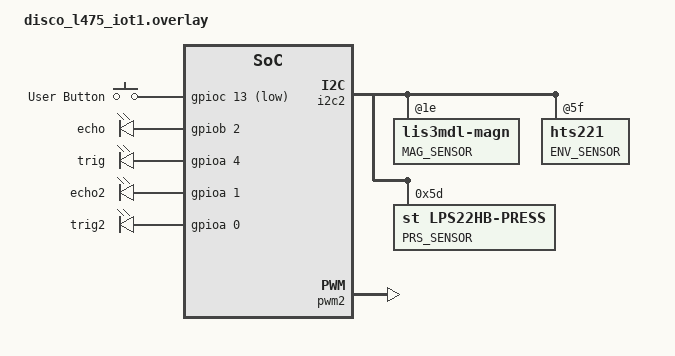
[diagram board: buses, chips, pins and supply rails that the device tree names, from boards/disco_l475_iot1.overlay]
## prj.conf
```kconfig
CONFIG_GPIO=y
CONFIG_ENTROPY_GENERATOR=y
#CONFIG_UART_INTERRUPT_DRIVEN=y
#CONFIG_SERIAL=y

CONFIG_SHELL=y
CONFIG_SHELL_BACKEND_SERIAL=y
CONFIG_UART_CONSOLE=y


CONFIG_CBPRINTF_COMPLETE=y
CONFIG_LOG=y
CONFIG_LOG_DEFAULT_LEVEL=3
CONFIG_LOG_MODE_DEFERRED=y
CONFIG_RTC=y

CONFIG_I2C=y
CONFIG_SENSOR=y
CONFIG_LIS3MDL=y

CONFIG_JSON_LIBRARY=y

CONFIG_FLASH=y
CONFIG_SPI=y
CONFIG_FLASH_MAP=y
CONFIG_NVS=y
CONFIG_FS_LOG_LEVEL_DBG=y

CONFIG_FILE_SYSTEM=y
CONFIG_FILE_SYSTEM_LITTLEFS=y
CONFIG_SHELL_STACK_SIZE=4096
CONFIG_MAIN_STACK_SIZE=4096

CONFIG_SHELL_BACKEND_SERIAL=y
CONFIG_FILE_SYSTEM_SHELL=y

#For bluetooth 

CONFIG_BT=y
CONFIG_BT_PERIPHERAL=y
CONFIG_BT_DEVICE_NAME="ST_Disco_Ben"
CONFIG_BT_DEVICE_APPEARANCE=0
CONFIG_BT_OBSERVER=y
CONFIG_BT_RX_STACK_SIZE=1024



#CONFIG_MAIN_STACK_SIZE=4096 #for file system
```

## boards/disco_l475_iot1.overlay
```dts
&i2c2 {
    mag_sensor: lis3mdl-magn@1e {
        label = "MAG_SENSOR";
        status = "okay";
    };
    env_sensor: hts221@5f{
        label = "ENV_SENSOR";
        status = "okay";
    };
    prs_sensor: lps22hb-press@5d {
        label = "PRS_SENSOR";
	    compatible = "st,lps22hb-press";
	    reg = <0x5d>;
    };
};


/{
    gpio_keys {
        compatible = "gpio-keys";
        user_button: button_0 {
            label = "User Button";
            gpios = <&gpioc 13 GPIO_ACTIVE_LOW>;
            zephyr,code = <INPUT_KEY_0>;
        };
    };
    aliases {
        rtc = &rtc;
        mag = &mag_sensor;
        env = &env_sensor;
        prs = &prs_sensor;
        sw0 = &user_button; 
        //mag = &lis3mdl_magn_1e;
        //mag = &MAG_SENSOR;
    };
};






//S1 LED overaly
/{
    aliases {
        trig = &trig;
        echo = &echo;
        trig2 = &trig2;
        echo2 = &echo2;
        
    };

    pwmleds: pwmleds {
		compatible = "pwm-leds";
		status = "disabled";
		/*
		 * green_pwm_1 is connected to CN1 pin 2 not LD1, since LD1
		 * shares a pin with the Arduino SPI SCL line.
		 */
		pwm_1: pwm_1 {
			pwms = <&pwm2 1 PWM_MSEC(1000) PWM_POLARITY_NORMAL>;
		};
		pwm_2: pwm_2 {
			pwms = <&pwm15 1 PWM_MSEC(1000) PWM_POLARITY_NORMAL>;
		};
	};

    gpios {
        compatible="gpio-leds";
        status="okay";
        echo: echo {
            gpios = <&gpiob 2 GPIO_ACTIVE_HIGH>; // Echo pin (input)
        };
        trig: trig {
            gpios = <&gpioa 4 GPIO_ACTIVE_HIGH>; //output
        };
        echo2: echo2 {
            gpios = <&gpioa 1 GPIO_ACTIVE_HIGH>; // Echo pin (input)
        };
        trig2: trig2 {
            gpios = <&gpioa 0 GPIO_ACTIVE_HIGH>; //output
        };
    };
};

&pwm2 {
    status = "okay";
};
```

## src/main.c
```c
#include <stdio.h>
#include "ble.c"
#include "ultrasonic.c"

#include <zephyr/kernel.h>
#include <zephyr/drivers/gpio.h>
#include <zephyr/random/random.h>
#include <zephyr/shell/shell.h>
#include <zephyr/logging/log.h>
#include <inttypes.h>
#include <zephyr/drivers/pwm.h>
#include <zephyr/devicetree.h>

#include <zephyr/bluetooth/bluetooth.h>
#include <zephyr/bluetooth/conn.h>
#include <zephyr/bluetooth/gatt.h>
#include <zephyr/bluetooth/uuid.h>


#define SLEEP_TIME_MS   1000
#define STACK_SIZE 1024
#define RNG_PRIORITY 7
#define DISPLAY_PRIORITY 7
#define MSGQ_SIZE 10
#define MSGQ_ALIGNMENT 4



/*
int main(){
    uint8_t arr[2] = {1, 2};
    uint8_t len = 2;
    uint8_t value = 0;
    ultrasonic_init();
    bt_le_scan_start(BT_LE_SCAN_PASSIVE, scan_recv);


    printf("Advertising started\n");
    while(1){
        //read_distance(1);
        read_distance(2);
        //set_val1(55); // Set the value of val1 to 55
        k_msleep(2000);
    }
    return 0;
}*/
```

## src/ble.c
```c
#include "ble.h"
#include <zephyr/bluetooth/bluetooth.h>
#include <zephyr/bluetooth/hci.h>


#define STACK_SIZE 1024
#define BLE_PRIORITY 7

// iBeacon payload format
static uint8_t ibeacon_payload[] = {
    0x33, 0x77, // iBeacon prefix
    0x00,       // Ultrasonic1
    0x00,       // Ultrasonic2   
};

// Define advertisement data
static const struct bt_data ad[] = {
    BT_DATA(BT_DATA_FLAGS, &(uint8_t){BT_LE_AD_GENERAL | BT_LE_AD_NO_BREDR}, 1),
    BT_DATA(BT_DATA_MANUFACTURER_DATA, ibeacon_payload, sizeof(ibeacon_payload)),
};

void update_sensor_values(uint16_t ultrasonic)
{
    uint8_t ultrasonic1 = ultrasonic & 0xFF; // Extract the lower byte
    uint8_t ultrasonic2 = (ultrasonic >> 8) & 0xFF; // Extract the upper byte

    // Given ultrasonic1 is at payload index 22 and 23 if major/minor are fixed update the value
    ibeacon_payload[2] = ultrasonic1; // ultrasonic1
    ibeacon_payload[3] = ultrasonic2; // ultrasonic2

}

void restart_advertising(uint16_t ultrasonic)
{
    update_sensor_values(ultrasonic);

    struct bt_data ad[] = {
        BT_DATA(BT_DATA_FLAGS, &(uint8_t){BT_LE_AD_GENERAL | BT_LE_AD_NO_BREDR}, 1),
        BT_DATA(BT_DATA_MANUFACTURER_DATA, ibeacon_payload, sizeof(ibeacon_payload)),
    };

    bt_le_adv_stop();
    int ret = bt_le_adv_start(BT_LE_ADV_NCONN, ad, ARRAY_SIZE(ad), NULL, 0);
    if (ret)
    {
        printf("Failed to restart advertising (err %d)\n", ret);
    }
}

// Initialize BLE and start advertising iBeacon data
int init_ble(void)
{
    printf("Initializing BLE as iBeacon\n");

    int ret = bt_enable(NULL);
    if (ret)
    {
        printf("Bluetooth init failed (err %d)\n", ret);
        return ret;
    }

    ret = bt_le_adv_start(BT_LE_ADV_NCONN, ad, ARRAY_SIZE(ad), NULL, 0);
    if (ret)
    {
        printf("Advertising start failed (err %d)\n", ret);
    }
    else
    {
        printf("iBeacon advertising started successfully\n");
    }

    return ret;
}

// reading bt
#define IBEACON_MANUF_DATA_MIN_LEN 24

static bool adv_parse_cb(struct bt_data *data, void *user_data)
{
    if (data->type == BT_DATA_MANUFACTURER_DATA && data->data_len >= IBEACON_MANUF_DATA_MIN_LEN)
    {
        const uint8_t *d = data->data;
        // Check for the iBeacon prefix (first 2 bytes: 0x02, 0x15)
        if (d[0] == 0x02 && d[1] == 0x15)
        {
            uint16_t major = (d[18] << 8) | d[19];
            uint16_t minor = (d[20] << 8) | d[21];
            int8_t tx_power = d[22];    // TX Power (signed 8-bit)
            uint8_t ultrasonic = d[23]; // Custom field "ultrasonic1"

            printk("iBeacon detected:\n");
            printk("  Major: %u\n", major);
            printk("  Minor: %u\n", minor);
            printk("  TX Power: %d\n", tx_power);
            printk("  Ultrasonic1: %u\n", ultrasonic);
        }
    }
    /* Returning true to continue processing any further fields */
    return true;
}


void ble_task(void) {
    init_ble();
    // Start scanning for iBeacon advertisements
    uint16_t combinedDistance = 0;

    while (1)
    {
        k_msgq_get(&my_msgq, &combinedDistance, K_FOREVER) == 0;
        restart_advertising(combinedDistance);
    }
}
K_THREAD_DEFINE(ble, STACK_SIZE, ble_task, NULL, NULL, BLE_PRIORITY,0,0,0);
```

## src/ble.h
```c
#ifndef BLE_H
#define BLE_H

#include <zephyr/kernel.h>
#include <zephyr/device.h>
#include <zephyr/drivers/rtc.h>
#include <zephyr/sys/util.h>
#include <zephyr/devicetree.h>
#include <zephyr/shell/shell.h>
#include <zephyr/bluetooth/bluetooth.h>
#include <zephyr/bluetooth/hci.h>


int init_ble(void);
void send_value(uint8_t value);
void set_val1(uint8_t value);


extern struct k_msgq my_msgq;

#endif 
```

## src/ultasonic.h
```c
#ifndef ULTRASONIC_H
#define ULTRASONIC_H

#include <zephyr/kernel.h>
#include <zephyr/device.h>
#include <zephyr/drivers/rtc.h>
#include <zephyr/sys/util.h>
#include <zephyr/devicetree.h>
#include <zephyr/shell/shell.h>

int ultrasonic_init(void);
uint8_t read_distance(int select);



#endif 
```

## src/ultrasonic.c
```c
#include <limits.h>
#include "ultasonic.h"
#include "ble.h"
#include <stdio.h>
#include <zephyr/kernel.h>
#include <zephyr/drivers/gpio.h>
#include <zephyr/random/random.h>
#include <zephyr/shell/shell.h>
#include <zephyr/logging/log.h>
#include <inttypes.h>
#include <zephyr/drivers/pwm.h>
#include <zephyr/devicetree.h>

#define STACK_SIZE 2048
#define ULTRASONIC_PRIORITY 7

static const struct gpio_dt_spec trig_pin1 = GPIO_DT_SPEC_GET(DT_ALIAS(trig), gpios);
static const struct gpio_dt_spec echo_pin1 = GPIO_DT_SPEC_GET(DT_ALIAS(echo), gpios);
static const struct gpio_dt_spec trig_pin2 = GPIO_DT_SPEC_GET(DT_ALIAS(trig2), gpios);
static const struct gpio_dt_spec echo_pin2 = GPIO_DT_SPEC_GET(DT_ALIAS(echo2), gpios);


#define MSGQ_SIZE 10
#define MSGQ_ALIGNMENT 4
K_MSGQ_DEFINE(my_msgq, sizeof(uint16_t), MSGQ_SIZE, MSGQ_ALIGNMENT);

int ultrasonic_init(void) {
    // Configure trigger pin as output
    int ret;
    ret = gpio_pin_configure(trig_pin1.port, trig_pin1.pin, GPIO_OUTPUT_ACTIVE);
    if (ret < 0) {
        printk("Failed to configure trigger pin\n");
        return ret;
    }

    // Configure echo pin as input
    ret = gpio_pin_configure(echo_pin1.port, echo_pin1.pin, GPIO_INPUT);
    if (ret < 0) {
        printk("Failed to configure echo pin\n");
        return ret;
    }
    ret = gpio_pin_configure(trig_pin2.port, trig_pin2.pin, GPIO_OUTPUT_ACTIVE);
    if (ret < 0) {
        printk("Failed to configure trigger pin\n");
        return ret;
    }

    // Configure echo pin as input
    ret = gpio_pin_configure(echo_pin2.port, echo_pin2.pin, GPIO_INPUT);
    if (ret < 0) {
        printk("Failed to configure echo pin\n");
        return ret;
    }

    return 0;
}

uint8_t read_distance(int select) {
    uint64_t start_time, end_time, timeout_start;
    // Wait for echo pin to go high
    if(select == 1){
        while (gpio_pin_get(echo_pin1.port, echo_pin1.pin) == 1) {
        }
        k_usleep(2);
        gpio_pin_set_dt(&trig_pin1, 1);
        k_usleep(10);
        gpio_pin_set_dt(&trig_pin1, 0);
    
    
        // Wait for the echo pin to go low
        timeout_start = k_cycle_get_64();
        while (gpio_pin_get(echo_pin1.port, echo_pin1.pin) == 0) {
            if (k_cyc_to_us_floor64(k_cycle_get_64()-timeout_start) > 60000) {
                printf("Sensor %d: Timeout waiting for echo to go high\n", select);
                return 0b11111111; // Return maximum distance (2000 cm or 20m)
            }
        }
        start_time = k_cycle_get_64();
        while (gpio_pin_get(echo_pin1.port, echo_pin1.pin) == 1) {
        }
    }
    else if(select == 2){
        while (gpio_pin_get(echo_pin2.port, echo_pin2.pin) == 1) {
        } 
        k_usleep(2);
        gpio_pin_set_dt(&trig_pin2, 1);
        k_usleep(10);
        gpio_pin_set_dt(&trig_pin2, 0);
    
    
        // Wait for the echo pin to go low
        timeout_start = k_cycle_get_64();
        while (gpio_pin_get(echo_pin2.port, echo_pin2.pin) == 0) {
            if (k_cyc_to_us_floor64(k_cycle_get_64() - timeout_start) > 60000) {
                printf("Sensor %d: Timeout waiting for echo to go high\n", select);
                return 0b11111111; // Return maximum distance (2000 cm or 20m)
            }
        }
        start_time = k_cycle_get_64();
        while (gpio_pin_get(echo_pin2.port, echo_pin2.pin) == 1) {
        }
    }

    end_time = k_cycle_get_64();
    // Calculate the duration of the echo pulse
    uint64_t pulse_duration_us = k_cyc_to_us_floor64(end_time - start_time);
    printf("end time is %llu\n", end_time);
    printf("difference is %llu\n", pulse_duration_us);

    // Calculate the distance in cm
    const float SPEED_OF_SOUND_CM_PER_US = 0.0343; // Speed of sound in cm/us
    uint32_t distance = (pulse_duration_us * SPEED_OF_SOUND_CM_PER_US) / 2;
    distance=distance/5;
    if(distance>255){
        distance=255;
    }
    uint8_t return_val=distance;


    printf("Sensor %d: Distance: %u cm\n",select, distance*5);

    return return_val;
}

void ultrasonic_task(void) {
    ultrasonic_init();
    uint16_t combinedDistance = 0;
    while (1) {
        combinedDistance = 0;
        combinedDistance = read_distance(1);
        k_msleep(100);
        combinedDistance |= read_distance(2)<<8;
        if (k_msgq_put(&my_msgq, &combinedDistance, K_NO_WAIT) != 0) {
            printf("Message queue is full, dropping value");
        }
        k_msleep(400);
    }
}
K_THREAD_DEFINE(ultra, STACK_SIZE, ultrasonic_task, NULL, NULL, ULTRASONIC_PRIORITY,0,0,0);
```
